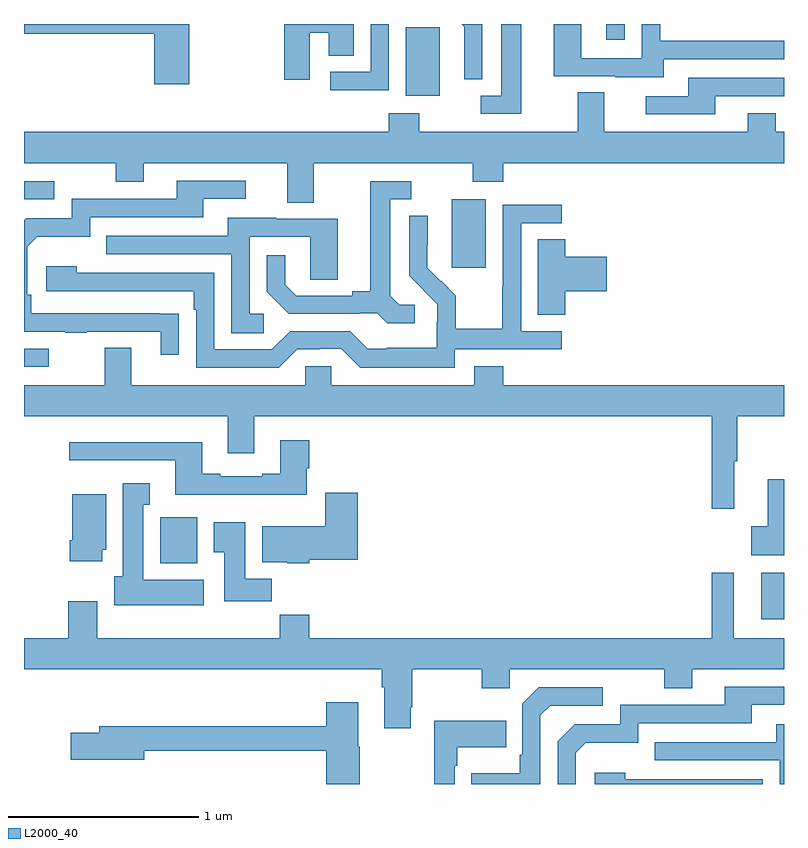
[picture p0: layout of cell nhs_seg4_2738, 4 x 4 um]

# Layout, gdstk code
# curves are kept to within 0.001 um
import gdstk
lib = gdstk.Library(unit=1e-6, precision=1e-09)
def R(c, l, rs):  # rectangles x0, y0, x1, y1
    for r in rs: c.add(gdstk.rectangle(r[:2], r[2:], *l))
def P(c, l, *ps):  # polygons
    for p in ps: c.add(gdstk.Polygon(p, *l))
L2000_40 = (2000, 40)

nhs_seg4_2738 = lib.new_cell('nhs_seg4_2738')
R(nhs_seg4_2738, L2000_40, [(258.881,779.768,259,780.013), (255.716,780.062,255.913,780.304), (255,781.095,255.13,781.191), (257.252,781.617,257.431,781.978), (255,781.977,255.16,782.073), (257.009,782.522,257.188,782.883), (258.065,782.817,258.162,782.9)])
P(nhs_seg4_2738, L2000_40, [(256.504,782.855),(256.604,782.855),(256.604,782.734),(256.735,782.734),(256.735,782.9),(256.37,782.9),(256.37,782.607),(256.504,782.607)],
  [(255.869,782.9),(255,782.9),(255,782.848),(255.686,782.848),(255.686,782.583),(255.869,782.583)],
  [(257.617,782.9),(257.513,782.9),(257.513,782.523),(257.403,782.523),(257.403,782.427),(257.617,782.427)],
  [(258.367,782.715),(259,782.715),(259,782.811),(258.348,782.811),(258.348,782.9),(258.252,782.9),(258.252,782.721),(257.934,782.721),(257.934,782.9),(257.789,782.9),(257.789,782.625),(258.113,782.625),(258.113,782.621),(258.367,782.621)],
  [(256.92,782.9),(256.824,782.9),(256.824,782.649),(256.611,782.649),(256.611,782.551),(256.92,782.551)],
  [(257.412,782.9),(257.303,782.9),(257.318,782.885),(257.318,782.762),(257.316,782.762),(257.316,782.608),(257.412,782.608)],
  [(258.637,782.52),(259,782.52),(259,782.616),(258.497,782.616),(258.497,782.52),(258.273,782.52),(258.273,782.424),(258.637,782.424)],
  [(256.525,782.168),(257.362,782.168),(257.362,782.069),(257.522,782.069),(257.522,782.168),(259,782.168),(259,782.332),(258.957,782.332),(258.957,782.431),(258.809,782.431),(258.809,782.332),(258.055,782.332),(258.055,782.54),(257.915,782.54),(257.915,782.332),(257.079,782.332),(257.079,782.431),(256.919,782.431),(256.919,782.332),(255,782.332),(255,782.168),(255.484,782.168),(255.484,782.069),(255.631,782.069),(255.631,782.168),(256.385,782.168),(256.385,781.96),(256.525,781.96)],
  [(255.815,781.376),(255.038,781.377),(255.038,781.474),(255.018,781.474),(255.018,781.728),(255.071,781.781),(255.348,781.781),(255.348,781.884),(255.943,781.884),(255.943,781.98),(256.168,781.98),(256.168,782.076),(255.803,782.076),(255.803,781.98),(255.252,781.98),(255.252,781.878),(255.012,781.878),(255,781.866),(255,781.281),(255.217,781.281),(255.217,781.276),(255.329,781.276),(255.329,781.281),(255.719,781.281),(255.719,781.158),(255.815,781.158)],
  [(257.056,781.422),(256.974,781.422),(256.927,781.469),(256.927,781.977),(257.038,781.977),(257.038,782.073),(256.823,782.073),(256.823,781.493),(256.727,781.493),(256.727,781.47),(256.432,781.47),(256.375,781.527),(256.375,781.684),(256.278,781.684),(256.278,781.49),(256.394,781.374),(256.766,781.374),(256.766,781.377),(256.86,781.377),(256.912,781.325),(257.056,781.325)],
  [(257.268,781.188),(257.83,781.188),(257.83,781.284),(257.616,781.284),(257.616,781.851),(257.83,781.851),(257.83,781.95),(257.52,781.95),(257.52,781.52),(257.517,781.52),(257.517,781.297),(257.273,781.297),(257.273,781.471),(257.196,781.548),(257.193,781.545),(257.123,781.616),(257.124,781.892),(257.028,781.892),(257.028,781.574),(257.174,781.426),(257.174,781.329),(257.172,781.329),(257.172,781.195),(256.909,781.195),(256.909,781.191),(256.809,781.191),(256.716,781.284),(256.401,781.284),(256.305,781.188),(256.002,781.188),(256.002,781.59),(255.278,781.59),(255.278,781.624),(255.117,781.624),(255.117,781.494),(255.893,781.494),(255.893,781.397),(255.906,781.397),(255.906,781.092),(256.341,781.092),(256.437,781.188),(256.556,781.188),(256.556,781.191),(256.671,781.191),(256.771,781.091),(257.268,781.091)],
  [(256.261,781.374),(256.188,781.374),(256.188,781.779),(256.506,781.779),(256.506,781.555),(256.651,781.555),(256.651,781.875),(256.327,781.875),(256.327,781.879),(256.073,781.879),(256.073,781.785),(255.433,781.785),(255.433,781.689),(256.092,781.689),(256.092,781.273),(256.261,781.273)],
  [(257.849,781.493),(258.067,781.493),(258.067,781.676),(257.849,781.676),(257.849,781.766),(257.705,781.766),(257.705,781.369),(257.849,781.369)],
  [(258.737,780.6),(258.755,780.6),(258.755,780.836),(259,780.836),(259,781),(257.522,781),(257.522,781.099),(257.369,781.099),(257.369,781),(256.617,781),(256.617,781.098),(256.479,781.098),(256.479,781),(255.565,781),(255.565,781.195),(255.425,781.195),(255.425,781),(255,781),(255,780.836),(256.073,780.836),(256.073,780.642),(256.213,780.642),(256.213,780.836),(258.619,780.836),(258.619,780.348),(258.737,780.348)],
  [(256.489,780.561),(256.502,780.561),(256.502,780.709),(256.349,780.709),(256.349,780.532),(256.253,780.532),(256.253,780.519),(256.033,780.519),(256.033,780.532),(255.937,780.532),(255.937,780.7),(255.237,780.7),(255.237,780.603),(255.797,780.603),(255.797,780.422),(256.489,780.422)],
  [(259,780.505),(258.914,780.505),(258.914,780.257),(258.828,780.257),(258.828,780.104),(259,780.104)],
  [(255.946,779.974),(255.628,779.974),(255.628,780.371),(255.661,780.371),(255.661,780.484),(255.521,780.484),(255.521,779.994),(255.476,779.994),(255.476,779.84),(255.946,779.84)],
  [(256.5,780.08),(256.757,780.08),(256.757,780.433),(256.586,780.433),(256.586,780.256),(256.253,780.256),(256.253,780.068),(256.386,780.068),(256.386,780.062),(256.5,780.062)],
  [(255.412,780.132),(255.433,780.132),(255.433,780.424),(255.254,780.424),(255.254,780.184),(255.242,780.184),(255.242,780.072),(255.412,780.072)],
  [(256.304,779.98),(256.165,779.98),(256.165,780.277),(255.998,780.277),(255.998,780.121),(256.055,780.121),(256.055,779.862),(256.304,779.862)],
  [(257.035,779.305),(257.043,779.305),(257.043,779.504),(257.41,779.504),(257.41,779.405),(257.556,779.405),(257.556,779.504),(258.37,779.504),(258.37,779.405),(258.517,779.405),(258.517,779.504),(259,779.504),(259,779.668),(258.736,779.668),(258.736,780.013),(258.619,780.013),(258.619,779.668),(256.502,779.668),(256.502,779.792),(256.345,779.792),(256.345,779.668),(255.385,779.668),(255.385,779.863),(255.233,779.863),(255.233,779.668),(255,779.668),(255,779.504),(256.883,779.504),(256.883,779.408),(256.895,779.408),(256.895,779.193),(257.035,779.193)],
  [(257.904,779.064),(257.957,779.117),(258.234,779.117),(258.234,779.22),(258.829,779.22),(258.829,779.316),(259,779.316),(259,779.412),(258.689,779.412),(258.689,779.316),(258.138,779.316),(258.138,779.214),(257.898,779.214),(257.808,779.124),(257.808,778.9),(257.904,778.9)],
  [(257.718,779.262),(257.769,779.313),(258.046,779.313),(258.046,779.409),(257.709,779.409),(257.622,779.322),(257.622,779.053),(257.61,779.053),(257.61,778.957),(257.353,778.957),(257.353,778.9),(257.718,778.9)],
  [(256.767,779.097),(256.759,779.097),(256.759,779.329),(256.592,779.329),(256.592,779.203),(255.395,779.203),(255.395,779.169),(255.246,779.169),(255.246,779.027),(255.634,779.027),(255.634,779.074),(256.592,779.074),(256.592,778.9),(256.767,778.9)],
  [(257.268,778.997),(257.281,778.997),(257.281,779.093),(257.537,779.093),(257.537,779.233),(257.16,779.233),(257.16,778.9),(257.268,778.9)],
  [(259,779.215),(258.959,779.215),(258.959,779.121),(258.319,779.121),(258.319,779.025),(258.978,779.025),(258.978,778.9),(259,778.9)],
  [(258.888,778.926),(258.164,778.926),(258.164,778.96),(258.003,778.96),(258.003,778.9),(258.888,778.9)])

lib.write_gds('nhs_seg4_2738.gds')
